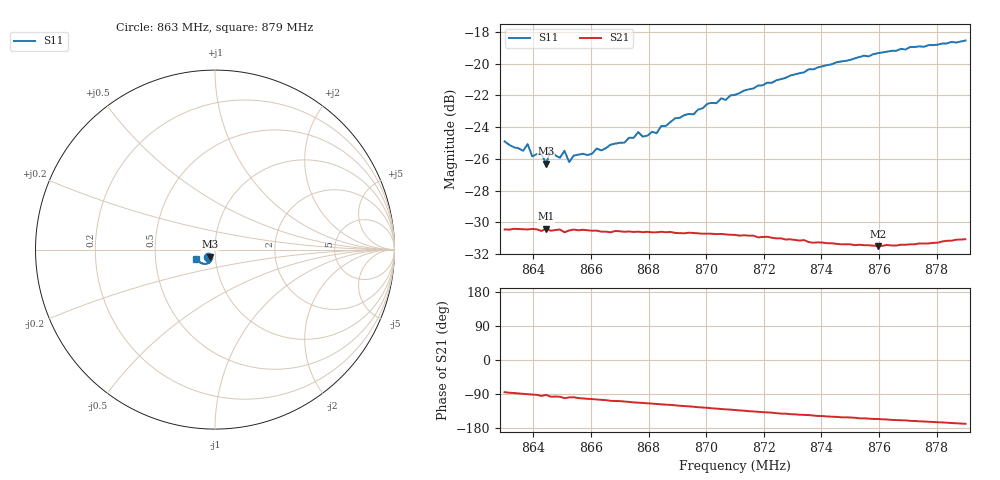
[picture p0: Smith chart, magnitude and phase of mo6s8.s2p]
# HZ S RI R 50
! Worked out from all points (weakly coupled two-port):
!   101 points, 863 MHz to 879 MHz, reference 50 ohm
!   highest |S21| = -30.38 dB at 864.44 MHz (marker M1); lowest = -31.5 dB at 875.96 MHz (marker M2)
!   lowest |S11| = -26.3 dB at 864.44 MHz (marker M3), VSWR 1.10, Z = 47.2 - j3.8 ohm
!   |S11| at or under -10 dB: start of sweep to end of sweep
!   S12 and S22 are empty: the file has one direction only
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8.63e8  -0.0403 -0.0402  0.00261 -0.03  0 0  0 0
8.6364e8  -0.0353 -0.0397  0.000382 -0.0301  0 0  0 0
8.638e8  -0.0395 -0.0394  -9.1e-05 -0.0301  0 0  0 0
8.6396e8  -0.0325 -0.0394  -0.000624 -0.0302  0 0  0 0
8.6428e8  -0.0314 -0.0413  -0.00249 -0.0296  0 0  0 0
8.6444e8  -0.0271 -0.0401  -0.00101 -0.0302  0 0  0 0
8.646e8  -0.0315 -0.0432  -0.00361 -0.0296  0 0  0 0
8.6492e8  -0.0276 -0.0423  -0.00365 -0.0298  0 0  0 0
8.6508e8  -0.0288 -0.0446  -0.00548 -0.0289  0 0  0 0
8.6524e8  -0.0231 -0.0432  -0.00449 -0.0295  0 0  0 0
8.654e8  -0.0259 -0.0444  -0.00434 -0.0297  0 0  0 0
8.6572e8  -0.0239 -0.0462  -0.006 -0.0294  0 0  0 0
8.6716e8  -0.0216 -0.0521  -0.00988 -0.0279  0 0  0 0
8.6764e8  -0.0234 -0.0561  -0.0113 -0.0273  0 0  0 0
8.678e8  -0.0215 -0.0548  -0.0117 -0.0271  0 0  0 0
8.6828e8  -0.0231 -0.0557  -0.0129 -0.0265  0 0  0 0
8.6844e8  -0.0225 -0.0595  -0.0134 -0.0263  0 0  0 0
8.71e8  -0.0334 -0.0724  -0.0194 -0.0215  0 0  0 0
8.7372e8  -0.0535 -0.0795  -0.0228 -0.0151  0 0  0 0
8.7596e8  -0.0767 -0.0758  -0.0243 -0.011  0 0  0 0
8.7644e8  -0.0828 -0.0719  -0.0248 -0.01  0 0  0 0
8.79e8  -0.1068 -0.0507  -0.0274 -0.00561  0 0  0 0
